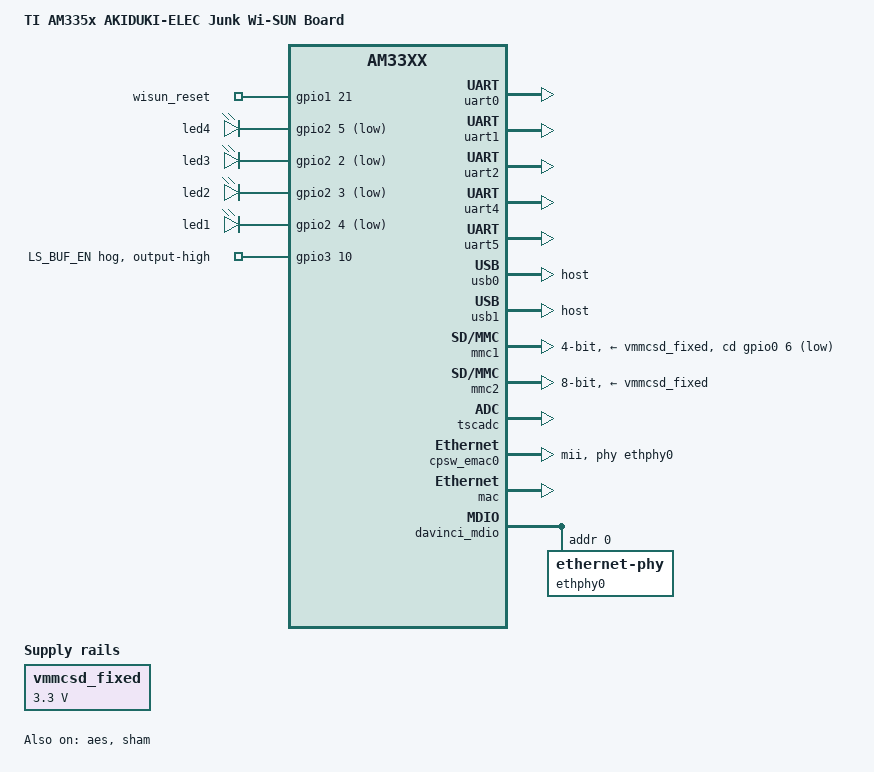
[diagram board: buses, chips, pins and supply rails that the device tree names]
// SPDX-License-Identifier: GPL-2.0-only
/*
 * Copyright (C) 2012 Texas Instruments Incorporated - https://www.ti.com/
 */
/dts-v1/;

#include "am33xx.dtsi"
#include "am335x-osd335x-common.dtsi"
#include <dt-bindings/interrupt-controller/irq.h>

/ {
	model = "TI AM335x AKIDUKI-ELEC Junk Wi-SUN Board";
	compatible = "ti,am335x-akiduki-junk", "ti,am33xx";

	chosen {
		stdout-path = &uart0;
	};

	leds {
		pinctrl-names = "default";
		pinctrl-0 = <&user_leds_s0>;

		compatible = "gpio-leds";


                wisun_reset {
                        label = "wisun_reset";
                        gpios = <&gpio1 21 GPIO_ACTIVE_HIGH>;
                        default-state = "on";
                };

		usr_0_led {
			label = "led4";
			gpios = <&gpio2 5 GPIO_ACTIVE_LOW>;
			default-state = "off";
		};

		usr_1_led {
			label = "led3";
			gpios = <&gpio2 2 GPIO_ACTIVE_LOW>;
			default-state = "off";
		};

		usr_2_led {
			label = "led2";
			gpios = <&gpio2 3 GPIO_ACTIVE_LOW>;
			default-state = "off";
		};

		usr_3_led {
			label = "led1";
			gpios = <&gpio2 4 GPIO_ACTIVE_LOW>;
			default-state = "off";
		};


	};

	vmmcsd_fixed: fixedregulator0 {
		compatible = "regulator-fixed";
		regulator-name = "vmmcsd_fixed";
		regulator-min-microvolt = <3300000>;
		regulator-max-microvolt = <3300000>;
	};

};

&am33xx_pinmux {
	user_leds_s0: user_leds_s0 {
		pinctrl-single,pins = <
			AM33XX_PADCONF(AM335X_PIN_GPMC_A5, PIN_OUTPUT, MUX_MODE7) /* (V15) gpmc_a5.gpio1[21] - Wi-SUN Board RESET Active Low , make high before use */

			AM33XX_PADCONF(AM335X_PIN_GPMC_ADVN_ALE, PIN_OUTPUT, MUX_MODE7) /* (R7) gpmc_advn_ale.gpio2[2]  */
			AM33XX_PADCONF(AM335X_PIN_GPMC_OEN_REN, PIN_OUTPUT, MUX_MODE7) /* (T7) gpmc_oen_ren.gpio2[3]  */
			AM33XX_PADCONF(AM335X_PIN_GPMC_WEN, PIN_OUTPUT, MUX_MODE7) /*  gpio2[4]  */
			AM33XX_PADCONF(AM335X_PIN_GPMC_BEN0_CLE, PIN_OUTPUT, MUX_MODE7) /* gpio2[5]  */

		>;
	};

	i2c2_pins: pinmux_i2c2_pins {
		pinctrl-single,pins = <
			AM33XX_PADCONF(AM335X_PIN_UART1_CTSN, PIN_INPUT_PULLUP, MUX_MODE3)	/* (D18) uart1_ctsn.I2C2_SDA */
			AM33XX_PADCONF(AM335X_PIN_UART1_RTSN, PIN_INPUT_PULLUP, MUX_MODE3)	/* (D17) uart1_rtsn.I2C2_SCL */
		>;
	};

	/* UT0 */
	uart0_pins: pinmux_uart0_pins {
		pinctrl-single,pins = <
			AM33XX_PADCONF(AM335X_PIN_UART0_RXD, PIN_INPUT_PULLUP, MUX_MODE0)
			AM33XX_PADCONF(AM335X_PIN_UART0_TXD, PIN_OUTPUT_PULLDOWN, MUX_MODE0)
		>;
	};

	/* UT1 */
	uart1_pins: pinmux_uart1_pins {
		pinctrl-single,pins = <
			AM33XX_PADCONF(AM335X_PIN_UART1_RXD, PIN_INPUT_PULLUP, MUX_MODE0)
			AM33XX_PADCONF(AM335X_PIN_UART1_TXD, PIN_OUTPUT_PULLDOWN, MUX_MODE0)
		>;
	};

	uart2_pins: pinmux_uart2_pins {
		pinctrl-single,pins = <
			AM33XX_PADCONF(AM335X_PIN_SPI0_SCLK, PIN_INPUT_PULLUP, MUX_MODE1)	/* (A17) spi0_sclk.uart2_rxd */
			AM33XX_PADCONF(AM335X_PIN_SPI0_D0, PIN_OUTPUT_PULLDOWN, MUX_MODE1)	/* (B17) spi0_d0.uart2_txd */
		>;
	};

	uart4_pins: pinmux_uart4_pins {
		pinctrl-single,pins = <
			AM33XX_PADCONF(AM335X_PIN_GPMC_WAIT0, PIN_INPUT_PULLUP, MUX_MODE6)	/* (T17) gpmc_wait0.uart4_rxd */
		>;
	};

	uart5_pins: pinmux_uart5_pins {
		pinctrl-single,pins = <
			AM33XX_PADCONF(AM335X_PIN_LCD_DATA9, PIN_INPUT_PULLUP, MUX_MODE4)	/* (U2) lcd_data9.uart5_rxd */
			AM33XX_PADCONF(AM335X_PIN_LCD_DATA8, PIN_OUTPUT_PULLDOWN, MUX_MODE4)	/* (U1) lcd_data8.uart5_txd */
		>;
	};

	mmc1_pins: pinmux_mmc1_pins {
		pinctrl-single,pins = <
			AM33XX_PADCONF(AM335X_PIN_SPI0_CS1, PIN_INPUT, MUX_MODE7)		/* (C15) spi0_cs1.gpio0[6] */
		>;
	};

	mmc2_pins: pinmux_mmc2_pins {
		pinctrl-single,pins = <
			AM33XX_PADCONF(AM335X_PIN_GPMC_CSN1, PIN_INPUT_PULLUP, MUX_MODE2)	/* (U9) gpmc_csn1.mmc1_clk */
			AM33XX_PADCONF(AM335X_PIN_GPMC_CSN2, PIN_INPUT_PULLUP, MUX_MODE2)	/* (V9) gpmc_csn2.mmc1_cmd */
			AM33XX_PADCONF(AM335X_PIN_GPMC_AD0, PIN_INPUT_PULLUP, MUX_MODE1)	/* (U7) gpmc_ad0.mmc1_dat0 */
			AM33XX_PADCONF(AM335X_PIN_GPMC_AD1, PIN_INPUT_PULLUP, MUX_MODE1)	/* (V7) gpmc_ad1.mmc1_dat1 */
			AM33XX_PADCONF(AM335X_PIN_GPMC_AD2, PIN_INPUT_PULLUP, MUX_MODE1)	/* (R8) gpmc_ad2.mmc1_dat2 */
			AM33XX_PADCONF(AM335X_PIN_GPMC_AD3, PIN_INPUT_PULLUP, MUX_MODE1)	/* (T8) gpmc_ad3.mmc1_dat3 */
			AM33XX_PADCONF(AM335X_PIN_GPMC_AD4, PIN_INPUT_PULLUP, MUX_MODE1)	/* (U8) gpmc_ad4.mmc1_dat4 */
			AM33XX_PADCONF(AM335X_PIN_GPMC_AD5, PIN_INPUT_PULLUP, MUX_MODE1)	/* (V8) gpmc_ad5.mmc1_dat5 */
			AM33XX_PADCONF(AM335X_PIN_GPMC_AD6, PIN_INPUT_PULLUP, MUX_MODE1)	/* (R9) gpmc_ad6.mmc1_dat6 */
			AM33XX_PADCONF(AM335X_PIN_GPMC_AD7, PIN_INPUT_PULLUP, MUX_MODE1)	/* (T9) gpmc_ad7.mmc1_dat7 */
		>;
	};

	mmc3_pins: pinmux_mmc3_pins {
		pinctrl-single,pins = <
			AM33XX_PADCONF(AM335X_PIN_MII1_RXD1, PIN_INPUT_PULLUP, MUX_MODE6)	/* (L15) gmii1_rxd1.mmc2_clk */
			AM33XX_PADCONF(AM335X_PIN_MII1_TX_EN, PIN_INPUT_PULLUP, MUX_MODE6)	/* (J16) gmii1_txen.mmc2_cmd */
			AM33XX_PADCONF(AM335X_PIN_MII1_RX_DV, PIN_INPUT_PULLUP, MUX_MODE5)	/* (J17) gmii1_rxdv.mmc2_dat0 */
			AM33XX_PADCONF(AM335X_PIN_MII1_TXD3, PIN_INPUT_PULLUP, MUX_MODE5)	/* (J18) gmii1_txd3.mmc2_dat1 */
			AM33XX_PADCONF(AM335X_PIN_MII1_TXD2, PIN_INPUT_PULLUP, MUX_MODE5)	/* (K15) gmii1_txd2.mmc2_dat2 */
			AM33XX_PADCONF(AM335X_PIN_MII1_COL, PIN_INPUT_PULLUP, MUX_MODE5)	/* (H16) gmii1_col.mmc2_dat3 */
		>;
	};


	uart3_pins: pinmux_uart3_pins {
		pinctrl-single,pins = <
			AM33XX_PADCONF(AM335X_PIN_MII1_RXD3, PIN_INPUT_PULLUP, MUX_MODE1)	/* (L17) gmii1_rxd3.uart3_rxd */
			AM33XX_PADCONF(AM335X_PIN_MII1_RXD2, PIN_OUTPUT_PULLDOWN, MUX_MODE1)	/* (L16) gmii1_rxd2.uart3_txd */
			AM33XX_PADCONF(AM335X_PIN_MDIO, PIN_INPUT, MUX_MODE3)		/* (M17) mdio_data.uart3_ctsn */
			AM33XX_PADCONF(AM335X_PIN_MDC, PIN_OUTPUT_PULLDOWN, MUX_MODE3)	/* (M18) mdio_clk.uart3_rtsn */
		>;
	};



        cpsw_default: cpsw_default {
                pinctrl-single,pins = <
                        /* Slave 1 */
                        AM33XX_PADCONF(AM335X_PIN_MII1_RX_ER, PIN_INPUT_PULLUP, MUX_MODE0)
                        AM33XX_PADCONF(AM335X_PIN_MII1_TX_EN, PIN_OUTPUT_PULLDOWN, MUX_MODE0)
                        AM33XX_PADCONF(AM335X_PIN_MII1_RX_DV, PIN_INPUT_PULLUP, MUX_MODE0)
                        AM33XX_PADCONF(AM335X_PIN_MII1_TXD3, PIN_OUTPUT_PULLDOWN, MUX_MODE0)
                        AM33XX_PADCONF(AM335X_PIN_MII1_TXD2, PIN_OUTPUT_PULLDOWN, MUX_MODE0)
                        AM33XX_PADCONF(AM335X_PIN_MII1_TXD1, PIN_OUTPUT_PULLDOWN, MUX_MODE0)
                        AM33XX_PADCONF(AM335X_PIN_MII1_TXD0, PIN_OUTPUT_PULLDOWN, MUX_MODE0)
                        AM33XX_PADCONF(AM335X_PIN_MII1_TX_CLK, PIN_INPUT_PULLUP, MUX_MODE0)
                        AM33XX_PADCONF(AM335X_PIN_MII1_RX_CLK, PIN_INPUT_PULLUP, MUX_MODE0)
                        AM33XX_PADCONF(AM335X_PIN_MII1_RXD3, PIN_INPUT_PULLUP, MUX_MODE0)
                        AM33XX_PADCONF(AM335X_PIN_MII1_RXD2, PIN_INPUT_PULLUP, MUX_MODE0)
                        AM33XX_PADCONF(AM335X_PIN_MII1_RXD1, PIN_INPUT_PULLUP, MUX_MODE0)
                        AM33XX_PADCONF(AM335X_PIN_MII1_RXD0, PIN_INPUT_PULLUP, MUX_MODE0)
                >;
        };

        cpsw_sleep: cpsw_sleep {
                pinctrl-single,pins = <
                        /* Slave 1 reset value */
                        AM33XX_PADCONF(AM335X_PIN_MII1_RX_ER, PIN_INPUT_PULLDOWN, MUX_MODE7)
                        AM33XX_PADCONF(AM335X_PIN_MII1_TX_EN, PIN_INPUT_PULLDOWN, MUX_MODE7)
                        AM33XX_PADCONF(AM335X_PIN_MII1_RX_DV, PIN_INPUT_PULLDOWN, MUX_MODE7)
                        AM33XX_PADCONF(AM335X_PIN_MII1_TXD3, PIN_INPUT_PULLDOWN, MUX_MODE7)
                        AM33XX_PADCONF(AM335X_PIN_MII1_TXD2, PIN_INPUT_PULLDOWN, MUX_MODE7)
                        AM33XX_PADCONF(AM335X_PIN_MII1_TXD1, PIN_INPUT_PULLDOWN, MUX_MODE7)
                        AM33XX_PADCONF(AM335X_PIN_MII1_TXD0, PIN_INPUT_PULLDOWN, MUX_MODE7)
                        AM33XX_PADCONF(AM335X_PIN_MII1_TX_CLK, PIN_INPUT_PULLDOWN, MUX_MODE7)
                        AM33XX_PADCONF(AM335X_PIN_MII1_RX_CLK, PIN_INPUT_PULLDOWN, MUX_MODE7)
                        AM33XX_PADCONF(AM335X_PIN_MII1_RXD3, PIN_INPUT_PULLDOWN, MUX_MODE7)
                        AM33XX_PADCONF(AM335X_PIN_MII1_RXD2, PIN_INPUT_PULLDOWN, MUX_MODE7)
                        AM33XX_PADCONF(AM335X_PIN_MII1_RXD1, PIN_INPUT_PULLDOWN, MUX_MODE7)
                        AM33XX_PADCONF(AM335X_PIN_MII1_RXD0, PIN_INPUT_PULLDOWN, MUX_MODE7)
                >;
        };


	davinci_mdio_default: davinci_mdio_default {
		pinctrl-single,pins = <
			/* MDIO */
			AM33XX_PADCONF(AM335X_PIN_MDIO, PIN_INPUT_PULLUP | SLEWCTRL_FAST, MUX_MODE0)
			AM33XX_PADCONF(AM335X_PIN_MDC, PIN_OUTPUT_PULLUP, MUX_MODE0)
		>;
	};

	davinci_mdio_sleep: davinci_mdio_sleep {
		pinctrl-single,pins = <
			/* MDIO reset value */
			AM33XX_PADCONF(AM335X_PIN_MDIO, PIN_INPUT_PULLDOWN, MUX_MODE7)
			AM33XX_PADCONF(AM335X_PIN_MDC, PIN_INPUT_PULLDOWN, MUX_MODE7)
		>;
	};


};

&uart0 {
	pinctrl-names = "default";
	pinctrl-0 = <&uart0_pins>;

	status = "okay";
};

&uart1 {
	pinctrl-names = "default";
	pinctrl-0 = <&uart1_pins>;

	status = "okay";
};

&uart2 {
	pinctrl-names = "default";
	pinctrl-0 = <&uart2_pins>;

	status = "okay";
};

&uart4 {
	pinctrl-names = "default";
	pinctrl-0 = <&uart4_pins>;

	status = "okay";
};

&uart5 {
	pinctrl-names = "default";
	pinctrl-0 = <&uart5_pins>;

	status = "okay";
};

&usb0 {
/*	dr_mode = "peripheral";
	interrupts-extended = <&intc 18 &tps 0>;
	interrupt-names = "mc", "vbus";*/
	dr_mode ="host";
};

&usb1 {
	dr_mode = "host";
};

/*
&i2c0 {
	baseboard_eeprom: baseboard_eeprom@50 {
		compatible = "atmel,24c256";
		reg = <0x50>;

		#address-cells = <1>;
		#size-cells = <1>;
		baseboard_data: baseboard_data@0 {
			reg = <0 0x100>;
		};
	};
};
*/

/include/ "tps65217.dtsi"

&tps {
	/delete-property/ ti,pmic-shutdown-controller;

	charger {
		interrupts = <0>, <1>;
		interrupt-names = "USB", "AC";
		status = "okay";
	};
};

&mmc1 {
	status = "okay";
	vmmc-supply = <&vmmcsd_fixed>;
	bus-width = <4>;
	pinctrl-names = "default";
	pinctrl-0 = <&mmc1_pins>;
	cd-gpios = <&gpio0 6 GPIO_ACTIVE_LOW>;
};

&mmc2 {
	status = "okay";
	vmmc-supply = <&vmmcsd_fixed>;
	bus-width = <8>;
	pinctrl-names = "default";
	pinctrl-0 = <&mmc2_pins>;
};


&tscadc {
	status = "okay";
	adc {
		ti,adc-channels = <0 1 2 3 4 5 6 7>;
	};
};


&rtc {
	system-power-controller;
	clocks = <&clk_32768_ck>, <&clk_24mhz_clkctrl AM3_CLK_24MHZ_CLKDIV32K_CLKCTRL 0>;
	clock-names = "ext-clk", "int-clk";
};


&gpio3 {
	ls_buf_en {
		gpio-hog;
		gpios = <10 GPIO_ACTIVE_HIGH>;
		output-high;
		line-name = "LS_BUF_EN";
	};
};


&tps {
	/*
	 * Configure pmic to enter OFF-state instead of SLEEP-state ("RTC-only
	 * mode") at poweroff.  Most BeagleBone versions do not support RTC-only
	 * mode and risk hardware damage if this mode is entered.
	 *
	 * For details, see linux-omap mailing list May 2015 thread
	 *	[PATCH] ARM: dts: am335x-bone* enable pmic-shutdown-controller
	 * In particular, messages:
	 *	http://www.spinics.net/lists/linux-omap/msg118585.html
	 *	http://www.spinics.net/lists/linux-omap/msg118615.html
	 *
	 * You can override this later with
	 *	&tps {  /delete-property/ ti,pmic-shutdown-controller;  }
	 * if you want to use RTC-only mode and made sure you are not affected
	 * by the hardware problems. (Tip: double-check by performing a current
	 * measurement after shutdown: it should be less than 1 mA.)
	 */

	interrupts = <7>; /* NMI */
	interrupt-parent = <&intc>;

	ti,pmic-shutdown-controller;

	charger {
		status = "okay";
	};

	pwrbutton {
		status = "okay";
	};

	regulators {
		dcdc1_reg: regulator@0 {
			regulator-name = "vdds_dpr";
			regulator-always-on;
		};

		dcdc2_reg: regulator@1 {
			/* VDD_MPU voltage limits 0.95V - 1.26V with +/-4% tolerance */
			regulator-name = "vdd_mpu";
			regulator-min-microvolt = <925000>;
			regulator-max-microvolt = <1351500>;
			regulator-boot-on;
			regulator-always-on;
		};

		dcdc3_reg: regulator@2 {
			/* VDD_CORE voltage limits 0.95V - 1.1V with +/-4% tolerance */
			regulator-name = "vdd_core";
			regulator-min-microvolt = <925000>;
			regulator-max-microvolt = <1150000>;
			regulator-boot-on;
			regulator-always-on;
		};

		ldo1_reg: regulator@3 {
			regulator-name = "vio,vrtc,vdds";
			regulator-always-on;
		};

		ldo2_reg: regulator@4 {
			regulator-name = "vdd_3v3aux";
			regulator-always-on;
		};

		ldo3_reg: regulator@5 {
			regulator-name = "vdd_1v8";
			regulator-always-on;
		};

		ldo4_reg: regulator@6 {
			regulator-name = "vdd_3v3a";
			regulator-always-on;
		};
	};
};

&cpsw_emac0 {
        phy-handle = <&ethphy0>;
        phy-mode = "mii";
};

&mac {
        slaves = <1>;
        pinctrl-names = "default", "sleep";
        pinctrl-0 = <&cpsw_default>;
        pinctrl-1 = <&cpsw_sleep>;
        status = "okay";
};

&davinci_mdio {
        pinctrl-names = "default", "sleep";
        pinctrl-0 = <&davinci_mdio_default>;
        pinctrl-1 = <&davinci_mdio_sleep>;
        status = "okay";

        ethphy0: ethernet-phy@0 {
                reg = <0>;
        };
};



&aes {
	status = "okay";
};

&sham {
	status = "okay";
};

&rtc {
	clocks = <&clk_32768_ck>, <&clk_24mhz_clkctrl AM3_CLK_24MHZ_CLKDIV32K_CLKCTRL 0>;
	clock-names = "ext-clk", "int-clk";
	system-power-controller;
};


&ldo3_reg {
	regulator-min-microvolt = <1800000>;
	regulator-max-microvolt = <1800000>;
	regulator-always-on;
};

